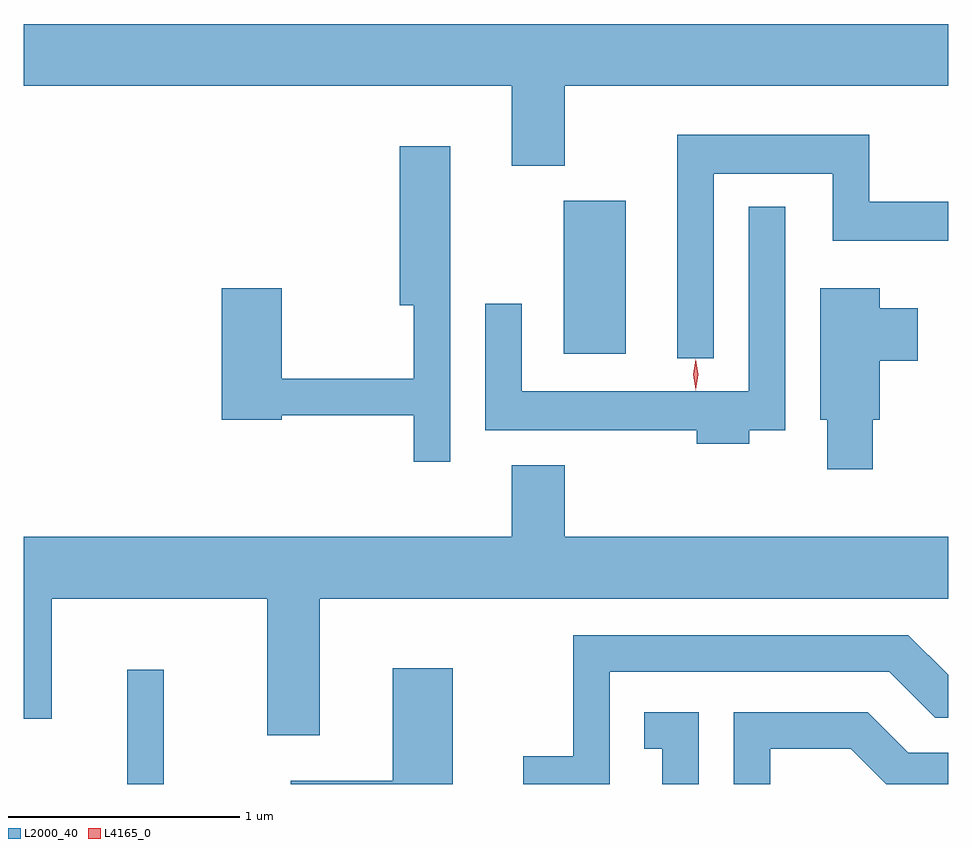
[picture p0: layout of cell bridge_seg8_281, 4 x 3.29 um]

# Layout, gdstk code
import gdstk
lib = gdstk.Library(unit=1e-6, precision=1e-09)
def R(c, l, rs):  # rectangles x0, y0, x1, y1
    for r in rs: c.add(gdstk.rectangle(r[:2], r[2:], *l))
def P(c, l, *ps):  # polygons
    for p in ps: c.add(gdstk.Polygon(p, *l))
L2000_40 = (2000, 40)
L4165_0 = (4165, 0)

bridge_seg8_281 = lib.new_cell('bridge_seg8_281')
R(bridge_seg8_281, L2000_40, [(1317.086,1808.974,1317.244,1809.468), (1318.976,1810.836,1319.244,1811.499)])
P(bridge_seg8_281, L2000_40, [(1318.979,1811.996),(1320.639,1811.996),(1320.639,1812.264),(1316.639,1812.264),(1316.639,1811.996),(1318.751,1811.996),(1318.751,1811.651),(1318.979,1811.651)],
  [(1319.624,1811.616),(1320.141,1811.616),(1320.141,1811.326),(1320.639,1811.326),(1320.639,1811.494),(1320.299,1811.494),(1320.299,1811.784),(1319.466,1811.784),(1319.466,1810.818),(1319.624,1810.818)],
  [(1318.484,1811.734),(1318.266,1811.734),(1318.266,1811.046),(1318.326,1811.046),(1318.326,1810.729),(1317.754,1810.729),(1317.754,1811.119),(1317.496,1811.119),(1317.496,1810.551),(1317.754,1810.551),(1317.754,1810.571),(1318.326,1810.571),(1318.326,1810.368),(1318.484,1810.368)],
  [(1319.779,1810.506),(1319.934,1810.506),(1319.934,1811.473),(1319.776,1811.473),(1319.776,1810.674),(1318.794,1810.674),(1318.794,1811.053),(1318.636,1811.053),(1318.636,1810.506),(1319.551,1810.506),(1319.551,1810.446),(1319.779,1810.446)],
  [(1320.314,1810.551),(1320.344,1810.551),(1320.344,1810.806),(1320.509,1810.806),(1320.509,1811.034),(1320.344,1811.034),(1320.344,1811.119),(1320.086,1811.119),(1320.086,1810.551),(1320.116,1810.551),(1320.116,1810.336),(1320.314,1810.336)],
  [(1317.919,1809.776),(1320.639,1809.776),(1320.639,1810.044),(1318.979,1810.044),(1318.979,1810.354),(1318.751,1810.354),(1318.751,1810.044),(1316.639,1810.044),(1316.639,1809.256),(1316.759,1809.256),(1316.759,1809.776),(1317.691,1809.776),(1317.691,1809.186),(1317.919,1809.186)],
  [(1319.174,1809.461),(1320.384,1809.461),(1320.584,1809.261),(1320.639,1809.261),(1320.639,1809.447),(1320.467,1809.619),(1319.016,1809.619),(1319.016,1809.094),(1318.801,1809.094),(1318.801,1808.974),(1319.174,1808.974)],
  [(1318.494,1809.474),(1318.236,1809.474),(1318.236,1808.989),(1317.793,1808.989),(1317.793,1808.974),(1318.494,1808.974)],
  [(1319.559,1809.284),(1319.323,1809.284),(1319.323,1809.126),(1319.401,1809.126),(1319.401,1808.974),(1319.559,1808.974)],
  [(1319.869,1809.126),(1320.219,1809.126),(1320.371,1808.974),(1320.639,1808.974),(1320.639,1809.109),(1320.467,1809.109),(1320.292,1809.284),(1319.711,1809.284),(1319.711,1808.974),(1319.869,1808.974)])
P(bridge_seg8_281, L4165_0, [(1319.547,1810.679),(1319.547,1810.68),(1319.537,1810.746),(1319.546,1810.812),(1319.547,1810.813),(1319.547,1810.812),(1319.557,1810.746),(1319.548,1810.68)])

lib.write_gds('bridge_seg8_281.gds')
